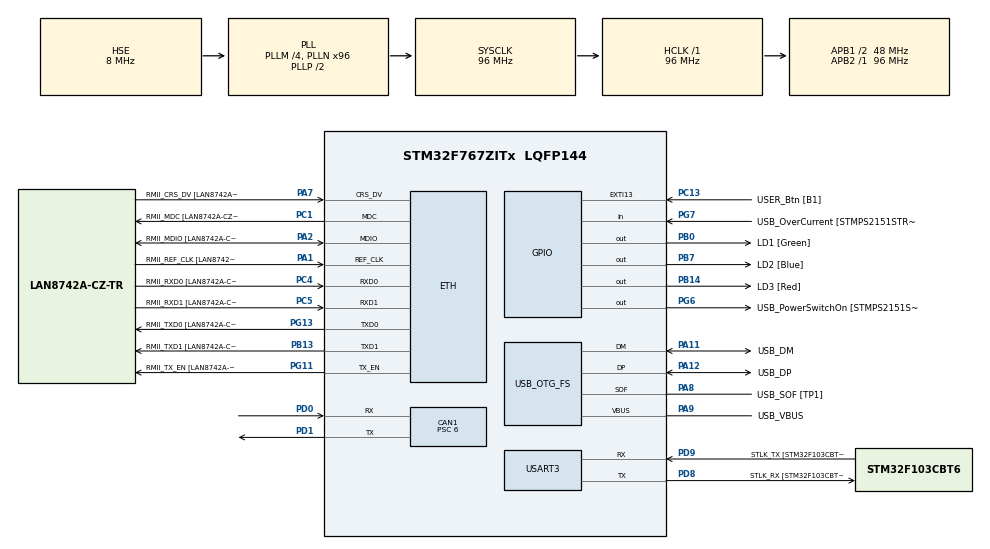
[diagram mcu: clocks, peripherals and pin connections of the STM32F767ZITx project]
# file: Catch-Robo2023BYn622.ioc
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CAN1.BS1=CAN_BS1_6TQ
CAN1.CalculateBaudRate=1000000
CAN1.CalculateTimeBit=1000
CAN1.CalculateTimeQuantum=125.0
CAN1.Prescaler=6
CAN1.TXFP=ENABLE
Dma.Request0=USART3_TX
Dma.USART3_TX.0.Direction=DMA_MEMORY_TO_PERIPH
Dma.USART3_TX.0.FIFOMode=DMA_FIFOMODE_DISABLE
Dma.USART3_TX.0.Instance=DMA1_Stream3
Dma.USART3_TX.0.MemDataAlignment=DMA_MDATAALIGN_BYTE
Dma.USART3_TX.0.MemInc=DMA_MINC_ENABLE
Dma.USART3_TX.0.Mode=DMA_NORMAL
Dma.USART3_TX.0.PeriphDataAlignment=DMA_PDATAALIGN_BYTE
Dma.USART3_TX.0.PeriphInc=DMA_PINC_DISABLE
Dma.USART3_TX.0.Priority=DMA_PRIORITY_LOW
ETH.MediaInterface=HAL_ETH_RMII_MODE
ETH.PHY_Name=LAN8742A_PHY_ADDRESS
ETH.PHY_Value=0
ETH.PhyAddress=0
ETH.RxMode=ETH_RXINTERRUPT_MODE
FREERTOS.Tasks01=defaultTask,24,512,StartDefaultTask,Default,NULL,Static,defaultTaskBuffer,defaultTaskControlBlock;systemCheckTask,32,512,StartSystemCheckTask,Default,NULL,Static,systemCheckTaskBuffer,systemCheckTaskControlBlock;ControllerTask,24,512,StartControllerTask,Default,NULL,Static,ControllerTaskBuffer,ControllerTaskControlBlock
FREERTOS.configENABLE_FPU=1
FREERTOS.configUSE_TIMERS=1
LWIP.BSP.number=1
LWIP.GATEWAY_ADDRESS=192.168.000.001
LWIP.IP_ADDRESS=192.168.000.020
LWIP.LWIP_DHCP=0
LWIP.NETMASK_ADDRESS=255.255.255.000
LWIP.Version=v2.1.2_Cube
LWIP0.BSP.STBoard=false
LWIP0.BSP.api=BSP_COMPONENT_DRIVER
LWIP0.BSP.component=LAN8742
LWIP0.BSP.instance=LAN8742
LWIP0.BSP.name=Driver_PHY
LWIP0.BSP.semaphore=S_LAN8742
LWIP0.BSP.solution=LAN8742
Mcu.Family=STM32F7
Mcu.Name=STM32F767ZITx
Mcu.Package=LQFP144
NVIC.CAN1_RX0_IRQn=true\:5\:0\:false\:false\:true\:true\:true\:true\:true
NVIC.CAN1_RX1_IRQn=true\:5\:0\:false\:false\:true\:true\:true\:true\:true
NVIC.CAN1_TX_IRQn=true\:5\:0\:false\:false\:true\:true\:true\:true\:true
NVIC.DMA1_Stream3_IRQn=true\:5\:0\:false\:false\:true\:true\:false\:true\:true
NVIC.ETH_IRQn=true\:5\:0\:false\:false\:true\:true\:false\:true\:true
NVIC.PriorityGroup=NVIC_PRIORITYGROUP_4
NVIC.TIM8_TRG_COM_TIM14_IRQn=true\:15\:0\:false\:false\:true\:false\:false\:true\:true
NVIC.TimeBase=TIM8_TRG_COM_TIM14_IRQn
NVIC.TimeBaseIP=TIM14
NVIC.USART3_IRQn=true\:5\:0\:false\:false\:true\:true\:true\:true\:true
PA1.GPIO_Label=RMII_REF_CLK [LAN8742A-CZ-TR_REFCLK0]
PA1.Mode=RMII
PA1.Signal=ETH_REF_CLK
PA10.GPIO_Label=USB_ID
PA10.Signal=USB_OTG_FS_ID
PA11.GPIO_Label=USB_DM
PA11.Mode=Device_Only
PA11.Signal=USB_OTG_FS_DM
PA12.GPIO_Label=USB_DP
PA12.Mode=Device_Only
PA12.Signal=USB_OTG_FS_DP
PA13.GPIO_Label=TMS
PA13.Mode=Serial_Wire
PA13.Signal=SYS_JTMS-SWDIO
PA14.GPIO_Label=TCK
PA14.Mode=Serial_Wire
PA14.Signal=SYS_JTCK-SWCLK
PA2.GPIO_Label=RMII_MDIO [LAN8742A-CZ-TR_MDIO]
PA2.Mode=RMII
PA2.Signal=ETH_MDIO
PA7.GPIO_Label=RMII_CRS_DV [LAN8742A-CZ-TR_CRS_DV]
PA7.Mode=RMII
PA7.Signal=ETH_CRS_DV
PA8.GPIO_Label=USB_SOF [TP1]
PA8.Mode=Activate_SOF_FS
PA8.Signal=USB_OTG_FS_SOF
PA9.GPIO_Label=USB_VBUS
PA9.Mode=Activate_VBUS
PA9.Signal=USB_OTG_FS_VBUS
PB0.GPIO_Label=LD1 [Green]
PB0.Signal=GPIO_Output
PB13.GPIO_Label=RMII_TXD1 [LAN8742A-CZ-TR_TXD1]
PB13.Mode=RMII
PB13.Signal=ETH_TXD1
PB14.GPIO_Label=LD3 [Red]
PB14.Signal=GPIO_Output
PB3.GPIO_Label=SWO
PB3.Signal=SYS_JTDO-SWO
PB7.GPIO_Label=LD2 [Blue]
PB7.Signal=GPIO_Output
PC1.GPIO_Label=RMII_MDC [LAN8742A-CZ-TR_MDC]
PC1.Mode=RMII
PC1.Signal=ETH_MDC
PC13.GPIO_Label=USER_Btn [B1]
PC13.Signal=GPXTI13
PC14/OSC32_IN.Mode=LSE-External-Oscillator
PC14/OSC32_IN.Signal=RCC_OSC32_IN
PC15/OSC32_OUT.Mode=LSE-External-Oscillator
PC15/OSC32_OUT.Signal=RCC_OSC32_OUT
PC4.GPIO_Label=RMII_RXD0 [LAN8742A-CZ-TR_RXD0]
PC4.Mode=RMII
PC4.Signal=ETH_RXD0
PC5.GPIO_Label=RMII_RXD1 [LAN8742A-CZ-TR_RXD1]
PC5.Mode=RMII
PC5.Signal=ETH_RXD1
PD0.Mode=CAN_Activate
PD0.Signal=CAN1_RX
PD1.Mode=CAN_Activate
PD1.Signal=CAN1_TX
PD8.GPIO_Label=STLK_RX [STM32F103CBT6_PA3]
PD8.Mode=Asynchronous
PD8.Signal=USART3_TX
PD9.GPIO_Label=STLK_TX [STM32F103CBT6_PA2]
PD9.Mode=Asynchronous
PD9.Signal=USART3_RX
PG11.GPIO_Label=RMII_TX_EN [LAN8742A-CZ-TR_TXEN]
PG11.Mode=RMII
PG11.Signal=ETH_TX_EN
PG13.GPIO_Label=RMII_TXD0 [LAN8742A-CZ-TR_TXD0]
PG13.Mode=RMII
PG13.Signal=ETH_TXD0
PG6.GPIO_Label=USB_PowerSwitchOn [STMPS2151STR_EN]
PG6.Signal=GPIO_Output
PG7.GPIO_Label=USB_OverCurrent [STMPS2151STR_FAULT]
PG7.Signal=GPIO_Input
PH0/OSC_IN.GPIO_Label=MCO [STM32F103CBT6_PA8]
PH0/OSC_IN.Mode=HSE-External-Clock-Source
PH0/OSC_IN.Signal=RCC_OSC_IN
PH1/OSC_OUT.Mode=HSE-External-Clock-Source
PH1/OSC_OUT.Signal=RCC_OSC_OUT
ProjectManager.HeapSize=0x200
ProjectManager.StackSize=0x400
ProjectManager.TargetToolchain=STM32CubeIDE
RCC.48MHZClocksFreq_Value=24000000
RCC.AHBFreq_Value=96000000
RCC.APB1CLKDivider=RCC_HCLK_DIV2
RCC.APB1Freq_Value=48000000
RCC.APB1TimFreq_Value=96000000
RCC.APB2Freq_Value=96000000
RCC.APB2TimFreq_Value=96000000
RCC.CortexFreq_Value=96000000
RCC.HCLKFreq_Value=96000000
RCC.HSE_VALUE=8000000
RCC.HSI_VALUE=16000000
RCC.PLLM=4
RCC.PLLMUL=RCC_PLL_MUL9
RCC.PLLN=96
RCC.PLLQ=4
RCC.PRESCALERUSB=RCC_USBCLKSOURCE_PLL_DIV1_5
RCC.SYSCLKFreq_VALUE=96000000
RCC.SYSCLKSource=RCC_SYSCLKSOURCE_PLLCLK
RCC.SYSCLKSourceVirtual=RCC_SYSCLKSOURCE_PLLCLK
RCC.USBFreq_Value=48000000
RCC.VCOOutputFreq_Value=192000000
USART3.VirtualMode-Asynchronous=VM_ASYNC
USB_OTG_FS.VirtualMode=Device_Only
VP_FREERTOS_VS_CMSIS_V2.Mode=CMSIS_V2
VP_LWIP_VS_Enabled.Mode=Enabled
VP_SYS_VS_tim14.Mode=TIM14
board=NUCLEO-F767ZI

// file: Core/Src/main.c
/* USER CODE BEGIN Header */
/**
  ******************************************************************************
  * @file           : main.c
  * @brief          : Main program body
  ******************************************************************************
  * @attention
  *
  * Copyright (c) 2023 STMicroelectronics.
  * All rights reserved.
  *
  * This software is licensed under terms that can be found in the LICENSE file
  * in the root directory of this software component.
  * If no LICENSE file comes with this software, it is provided AS-IS.
  *
  ******************************************************************************
  */
/* USER CODE END Header */
#include "main.h"
#include "cmsis_os.h"
#include "lwip.h"

/* USER CODE BEGIN Includes */
#include <stdio.h>
#include <CAN_Main.h>
#include <UDPController.h>
/* USER CODE END Includes */

typedef StaticTask_t osStaticThreadDef_t;

CAN_HandleTypeDef hcan1;

UART_HandleTypeDef huart3;
DMA_HandleTypeDef hdma_usart3_tx;

PCD_HandleTypeDef hpcd_USB_OTG_FS;

/* Definitions for defaultTask */
osThreadId_t defaultTaskHandle;
uint32_t defaultTaskBuffer[ 512 ];
osStaticThreadDef_t defaultTaskControlBlock;
const osThreadAttr_t defaultTask_attributes = {
  .name = "defaultTask",
  .cb_mem = &defaultTaskControlBlock,
  .cb_size = sizeof(defaultTaskControlBlock),
  .stack_mem = &defaultTaskBuffer[0],
  .stack_size = sizeof(defaultTaskBuffer),
  .priority = (osPriority_t) osPriorityNormal,
};
/* Definitions for systemCheckTask */
osThreadId_t systemCheckTaskHandle;
uint32_t systemCheckTaskBuffer[ 512 ];
osStaticThreadDef_t systemCheckTaskControlBlock;
const osThreadAttr_t systemCheckTask_attributes = {
  .name = "systemCheckTask",
  .cb_mem = &systemCheckTaskControlBlock,
  .cb_size = sizeof(systemCheckTaskControlBlock),
  .stack_mem = &systemCheckTaskBuffer[0],
  .stack_size = sizeof(systemCheckTaskBuffer),
  .priority = (osPriority_t) osPriorityAboveNormal,
};
/* Definitions for ControllerTask */
osThreadId_t ControllerTaskHandle;
uint32_t ControllerTaskBuffer[ 512 ];
osStaticThreadDef_t ControllerTaskControlBlock;
const osThreadAttr_t ControllerTask_attributes = {
  .name = "ControllerTask",
  .cb_mem = &ControllerTaskControlBlock,
  .cb_size = sizeof(ControllerTaskControlBlock),
  .stack_mem = &ControllerTaskBuffer[0],
  .stack_size = sizeof(ControllerTaskBuffer),
  .priority = (osPriority_t) osPriorityNormal,
};
/* USER CODE BEGIN PV */
NUM_OF_DEVICES num_of_devices;
MCMD_HandleTypedef mcmd4_struct;
MCMD_Feedback_Typedef mcmd_fb;//MCMDからのフィードバックを受け取る構造体を定義

// CANモジュール基板の設定
  CANServo_Param_Typedef servo_param;
  CAN_Device servo_device;
  CAN_Device air_device;
/* USER CODE END PV */

void SystemClock_Config(void);
static void MX_GPIO_Init(void);
static void MX_DMA_Init(void);
static void MX_USART3_UART_Init(void);
static void MX_USB_OTG_FS_PCD_Init(void);
static void MX_CAN1_Init(void);
void StartDefaultTask(void *argument);
void StartSystemCheckTask(void *argument);
void StartControllerTask(void *argument);

/* USER CODE BEGIN 0 */
#ifdef __GNUC__
#define PUTCHAR_PROTOTYPE int __io_putchar(uint8_t ch)
#else
#define PUTCHAR_PROTYPE int fputc(int ch,FILE *f)
#endif

PUTCHAR_PROTOTYPE {
    HAL_UART_Transmit(&huart3, &ch, 1, 500);
    return ch;
}

void HAL_CAN_TxMailbox0CompleteCallback(CAN_HandleTypeDef *hcan){
    WhenTxMailbox0_1_2CompleteCallbackCalled();
}

void HAL_CAN_TxMailbox0AbortCallback(CAN_HandleTypeDef *hcan){
    WhenTxMailbox0_1_2AbortCallbackCalled();
}

void HAL_CAN_TxMailbox1CompleteCallback(CAN_HandleTypeDef *hcan){
    WhenTxMailbox0_1_2CompleteCallbackCalled();
}

void HAL_CAN_TxMailbox1AbortCallback(CAN_HandleTypeDef *hcan){
    WhenTxMailbox0_1_2AbortCallbackCalled();
}

void HAL_CAN_TxMailbox2CompleteCallback(CAN_HandleTypeDef *hcan){
    WhenTxMailbox0_1_2CompleteCallbackCalled();
}

void HAL_CAN_TxMailbox2AbortCallback(CAN_HandleTypeDef *hcan){
    WhenTxMailbox0_1_2AbortCallbackCalled();
}

void HAL_CAN_RxFifo0MsgPendingCallback(CAN_HandleTypeDef *hcan){
    WhenCANRxFifo0MsgPending(hcan, &num_of_devices);
}

void canSetting(){
	printf("Start Initializing CAN System:Begin\n\r");
	HAL_Delay(100);

	CAN_SystemInit(&hcan1); // F7のCAN通信のinit

	// デバイス数の設定 (今回はmcmd4が1枚)
	num_of_devices.mcmd3 = 0;
	num_of_devices.mcmd4 = 0;
	num_of_devices.air = 1;
	num_of_devices.servo = 0;

	printf("Start Initializing CAN System:End\n\r");
	HAL_Delay(100);
	CAN_WaitConnect(&num_of_devices);  // 設定された全てのCANモジュール基板との接続が確認できるまで待機
}

void mcmdSetting(){
	   // ここからはCANモジュール基板の設定
	    // 接続先のMCMDの設定
	    mcmd4_struct.device.node_type = NODE_MCMD3;  // nodeのタイプ (NODE_MCMD3など)
	    mcmd4_struct.device.node_id = 1;  // 基板の番号 (基板上の半固定抵抗を回す事で設定できる)
	    mcmd4_struct.device.device_num = 0;  // モーターの番号(MCMDなら0と1の2つが選べる)

	    // 制御パラメータの設定
	    mcmd4_struct.ctrl_param.ctrl_type = MCMD_CTRL_POS;  //制御タイプを設定
	    mcmd4_struct.ctrl_param.PID_param.kp = 0.3f;  // Pゲイン 1.0
	    mcmd4_struct.ctrl_param.PID_param.ki = 0.0f;  // Iゲイン 0.0
	    mcmd4_struct.ctrl_param.PID_param.kd = 0.0f;  // Dゲイン 0.0 (Dゲインは使いにくい)
	    mcmd4_struct.ctrl_param.accel_limit = ACCEL_LIMIT_ENABLE;  // PIDの偏差をclipするか
	    mcmd4_struct.ctrl_param.accel_limit_size = 2.0f;  // PIDの偏差をclipする場合の絶対値のmax値
	    mcmd4_struct.ctrl_param.feedback = MCMD_FB_ENABLE;  // MCMDからF7にフィードバックを送信するか否か
	    mcmd4_struct.ctrl_param.timup_monitor = TIMUP_MONITOR_DISABLE;  // timeupは未実装なのでDISABLE。
	    mcmd4_struct.enc_dir = MCMD_DIR_FW;  // Encoderの回転方向設定
	    mcmd4_struct.rot_dir = MCMD_DIR_BC;  // モーターの回転方向設定
	    mcmd4_struct.quant_per_unit = 59.0/6400.0f;  // エンコーダーの分解能に対する制御値の変化量の割合

	    // 原点サーチの設定
	    mcmd4_struct.limit_sw_type = LIMIT_SW_NC;  // 原点サーチにNomaly Closedのスイッチを用いる
	    mcmd4_struct.calib = CALIBRATION_DISABLE;  // 原点サーチを行う。
	    mcmd4_struct.calib_duty = 0.1f;  // 原点サーチ時のduty
	    mcmd4_struct.offset = 0.0f;  // 原点のオフセット
	    mcmd4_struct.fb_type = MCMD_FB_POS;  // 読み取った位置情報をF7にフィードバックする。
}

void activateMcmdControll(){
	// パラメータなどの設定と動作命令をMCMDに送信する
	 MCMD_init(&mcmd4_struct);
	 HAL_Delay(10);
	 MCMD_Calib(&mcmd4_struct);  // キャリブレーションを行う
	 HAL_Delay(2000);  // キャリブレーションが終わるまで待つ
	 MCMD_SetTarget(&mcmd4_struct, 30.0f);  // 目標値(0.0)を設定
	 HAL_Delay(10);
	 MCMD_Control_Enable(&mcmd4_struct);  // 制御開始
	 printf("start");
	 HAL_Delay(10);
}

void servoSetting(){
	// Servo基板のdevice設定
	servo_device.node_type = NODE_SERVO;
	servo_device.node_id = 2;
	servo_device.device_num = 0;//0~3を指定する

	// Servo基板のパラメータ (offset以外はあまり変更しない)
	servo_param.angle_range=270.0f;//サーボの動作範囲
	servo_param.angle_offset=0.0f;//原点の位置
	servo_param.pulse_width_max=2.4f;//サーボの制御のPWM信号のパルス幅の最大値
	servo_param.pulse_width_min=0.5f;//サーボの制御のPWM信号のパルス幅の最小値
	servo_param.pwm_frequency=50;//PWM周波数（この変更は未実装
}

void airSetting(){
	air_device.node_type = NODE_AIR; //エアシリンダ基盤であることを示す
	air_device.node_id = 0; //基板の番号
}
/* USER CODE END 0 */

int main(void)
{

  /* MCU Configuration--------------------------------------------------------*/

  /* Reset of all peripherals, Initializes the Flash interface and the Systick. */
  HAL_Init();

  /* Configure the system clock */
  SystemClock_Config();

  /* Initialize all configured peripherals */
  MX_GPIO_Init();
  MX_DMA_Init();
  MX_USART3_UART_Init();
  MX_USB_OTG_FS_PCD_Init();
  MX_CAN1_Init();
  /* USER CODE BEGIN 2 */

  //記事ではmcmdなどの初期化コードを描くことになっている場所
  //canSetting();
  //mcmdSetting();
  //activateMcmdControll();
  //servoSetting();
  //airSetting();

  /* USER CODE END 2 */

  /* Init scheduler */
  osKernelInitialize();

  /* Create the thread(s) */
  /* creation of defaultTask */
  defaultTaskHandle = osThreadNew(StartDefaultTask, NULL, &defaultTask_attributes);

  /* creation of systemCheckTask */
  systemCheckTaskHandle = osThreadNew(StartSystemCheckTask, NULL, &systemCheckTask_attributes);

  /* creation of ControllerTask */
  ControllerTaskHandle = osThreadNew(StartControllerTask, NULL, &ControllerTask_attributes);

  /* Start scheduler */
  osKernelStart();
  /* We should never get here as control is now taken by the scheduler */
  /* Infinite loop */
  while (1)
  {

  }
}

void SystemClock_Config(void)
{
  RCC_OscInitTypeDef RCC_OscInitStruct = {0};
  RCC_ClkInitTypeDef RCC_ClkInitStruct = {0};

  /** Configure LSE Drive Capability
  */
  HAL_PWR_EnableBkUpAccess();

  /** Configure the main internal regulator output voltage
  */
  __HAL_RCC_PWR_CLK_ENABLE();
  __HAL_PWR_VOLTAGESCALING_CONFIG(PWR_REGULATOR_VOLTAGE_SCALE3);

  /** Initializes the RCC Oscillators according to the specified parameters
  * in the RCC_OscInitTypeDef structure.
  */
  RCC_OscInitStruct.OscillatorType = RCC_OSCILLATORTYPE_HSE;
  RCC_OscInitStruct.HSEState = RCC_HSE_BYPASS;
  RCC_OscInitStruct.PLL.PLLState = RCC_PLL_ON;
  RCC_OscInitStruct.PLL.PLLSource = RCC_PLLSOURCE_HSE;
  RCC_OscInitStruct.PLL.PLLM = 4;
  RCC_OscInitStruct.PLL.PLLN = 96;
  RCC_OscInitStruct.PLL.PLLP = RCC_PLLP_DIV2;
  RCC_OscInitStruct.PLL.PLLQ = 4;
  RCC_OscInitStruct.PLL.PLLR = 2;
  if (HAL_RCC_OscConfig(&RCC_OscInitStruct) != HAL_OK)
  {
    Error_Handler();
  }

  /** Activate the Over-Drive mode
  */
  if (HAL_PWREx_EnableOverDrive() != HAL_OK)
  {
    Error_Handler();
  }

  /** Initializes the CPU, AHB and APB buses clocks
  */
  RCC_ClkInitStruct.ClockType = RCC_CLOCKTYPE_HCLK|RCC_CLOCKTYPE_SYSCLK
                              |RCC_CLOCKTYPE_PCLK1|RCC_CLOCKTYPE_PCLK2;
  RCC_ClkInitStruct.SYSCLKSource = RCC_SYSCLKSOURCE_PLLCLK;
  RCC_ClkInitStruct.AHBCLKDivider = RCC_SYSCLK_DIV1;
  RCC_ClkInitStruct.APB1CLKDivider = RCC_HCLK_DIV2;
  RCC_ClkInitStruct.APB2CLKDivider = RCC_HCLK_DIV1;

  if (HAL_RCC_ClockConfig(&RCC_ClkInitStruct, FLASH_LATENCY_3) != HAL_OK)
  {
    Error_Handler();
  }
}

static void MX_CAN1_Init(void)
{

  hcan1.Instance = CAN1;
  hcan1.Init.Prescaler = 6;
  hcan1.Init.Mode = CAN_MODE_NORMAL;
  hcan1.Init.SyncJumpWidth = CAN_SJW_1TQ;
  hcan1.Init.TimeSeg1 = CAN_BS1_6TQ;
  hcan1.Init.TimeSeg2 = CAN_BS2_1TQ;
  hcan1.Init.TimeTriggeredMode = DISABLE;
  hcan1.Init.AutoBusOff = DISABLE;
  hcan1.Init.AutoWakeUp = DISABLE;
  hcan1.Init.AutoRetransmission = DISABLE;
  hcan1.Init.ReceiveFifoLocked = DISABLE;
  hcan1.Init.TransmitFifoPriority = ENABLE;
  if (HAL_CAN_Init(&hcan1) != HAL_OK)
  {
    Error_Handler();
  }

}

static void MX_USART3_UART_Init(void)
{

  huart3.Instance = USART3;
  huart3.Init.BaudRate = 115200;
  huart3.Init.WordLength = UART_WORDLENGTH_8B;
  huart3.Init.StopBits = UART_STOPBITS_1;
  huart3.Init.Parity = UART_PARITY_NONE;
  huart3.Init.Mode = UART_MODE_TX_RX;
  huart3.Init.HwFlowCtl = UART_HWCONTROL_NONE;
  huart3.Init.OverSampling = UART_OVERSAMPLING_16;
  huart3.Init.OneBitSampling = UART_ONE_BIT_SAMPLE_DISABLE;
  huart3.AdvancedInit.AdvFeatureInit = UART_ADVFEATURE_NO_INIT;
  if (HAL_UART_Init(&huart3) != HAL_OK)
  {
    Error_Handler();
  }

}

static void MX_USB_OTG_FS_PCD_Init(void)
{

  hpcd_USB_OTG_FS.Instance = USB_OTG_FS;
  hpcd_USB_OTG_FS.Init.dev_endpoints = 6;
  hpcd_USB_OTG_FS.Init.speed = PCD_SPEED_FULL;
  hpcd_USB_OTG_FS.Init.dma_enable = DISABLE;
  hpcd_USB_OTG_FS.Init.phy_itface = PCD_PHY_EMBEDDED;
  hpcd_USB_OTG_FS.Init.Sof_enable = ENABLE;
  hpcd_USB_OTG_FS.Init.low_power_enable = DISABLE;
  hpcd_USB_OTG_FS.Init.lpm_enable = DISABLE;
  hpcd_USB_OTG_FS.Init.vbus_sensing_enable = ENABLE;
  hpcd_USB_OTG_FS.Init.use_dedicated_ep1 = DISABLE;
  if (HAL_PCD_Init(&hpcd_USB_OTG_FS) != HAL_OK)
  {
    Error_Handler();
  }

}

static void MX_DMA_Init(void)
{

  /* DMA controller clock enable */
  __HAL_RCC_DMA1_CLK_ENABLE();

  /* DMA interrupt init */
  /* DMA1_Stream3_IRQn interrupt configuration */
  HAL_NVIC_SetPriority(DMA1_Stream3_IRQn, 5, 0);
  HAL_NVIC_EnableIRQ(DMA1_Stream3_IRQn);

}

static void MX_GPIO_Init(void)
{
  GPIO_InitTypeDef GPIO_InitStruct = {0};

  /* GPIO Ports Clock Enable */
  __HAL_RCC_GPIOC_CLK_ENABLE();
  __HAL_RCC_GPIOH_CLK_ENABLE();
  __HAL_RCC_GPIOA_CLK_ENABLE();
  __HAL_RCC_GPIOB_CLK_ENABLE();
  __HAL_RCC_GPIOD_CLK_ENABLE();
  __HAL_RCC_GPIOG_CLK_ENABLE();

  /*Configure GPIO pin Output Level */
  HAL_GPIO_WritePin(GPIOB, LD1_Pin|LD3_Pin|LD2_Pin, GPIO_PIN_RESET);

  /*Configure GPIO pin Output Level */
  HAL_GPIO_WritePin(USB_PowerSwitchOn_GPIO_Port, USB_PowerSwitchOn_Pin, GPIO_PIN_RESET);

  /*Configure GPIO pin : USER_Btn_Pin */
  GPIO_InitStruct.Pin = USER_Btn_Pin;
  GPIO_InitStruct.Mode = GPIO_MODE_IT_RISING;
  GPIO_InitStruct.Pull = GPIO_NOPULL;
  HAL_GPIO_Init(USER_Btn_GPIO_Port, &GPIO_InitStruct);

  /*Configure GPIO pins : LD1_Pin LD3_Pin LD2_Pin */
  GPIO_InitStruct.Pin = LD1_Pin|LD3_Pin|LD2_Pin;
  GPIO_InitStruct.Mode = GPIO_MODE_OUTPUT_PP;
  GPIO_InitStruct.Pull = GPIO_NOPULL;
  GPIO_InitStruct.Speed = GPIO_SPEED_FREQ_LOW;
  HAL_GPIO_Init(GPIOB, &GPIO_InitStruct);

  /*Configure GPIO pin : USB_PowerSwitchOn_Pin */
  GPIO_InitStruct.Pin = USB_PowerSwitchOn_Pin;
  GPIO_InitStruct.Mode = GPIO_MODE_OUTPUT_PP;
  GPIO_InitStruct.Pull = GPIO_NOPULL;
  GPIO_InitStruct.Speed = GPIO_SPEED_FREQ_LOW;
  HAL_GPIO_Init(USB_PowerSwitchOn_GPIO_Port, &GPIO_InitStruct);

  /*Configure GPIO pin : USB_OverCurrent_Pin */
  GPIO_InitStruct.Pin = USB_OverCurrent_Pin;
  GPIO_InitStruct.Mode = GPIO_MODE_INPUT;
  GPIO_InitStruct.Pull = GPIO_NOPULL;
  HAL_GPIO_Init(USB_OverCurrent_GPIO_Port, &GPIO_InitStruct);

}

void StartDefaultTask(void *argument)
{
  /* init code for LWIP */
  MX_LWIP_Init();
  /* USER CODE BEGIN 5 */
  HAL_GPIO_WritePin(GPIOB, LD1_Pin, GPIO_PIN_RESET);  // LED1 消灯
  /* Infinite loop */
  for(;;)
  {
	uint16_t button_data = UDPController_GetControllerButtons();  // buttonの入力を取得
	if((button_data & CONTROLLER_CIRCLE) != 0){  // oボタンが押されている場合
	   HAL_GPIO_WritePin(GPIOB, LD1_Pin, GPIO_PIN_SET);  // LED1 点灯
	}else{
	   HAL_GPIO_WritePin(GPIOB, LD1_Pin, GPIO_PIN_RESET);  // LED1 消灯
	  osDelay(100);
	}

  }
  /* USER CODE END 5 */
}

/* USER CODE BEGIN Header_StartSystemCheckTask */
/**
* @brief Function implementing the systemCheckTask thread.
* @param argument: Not used
* @retval None
*/
void freeRTOSChecker(){//無限ループの中で実行
	HAL_GPIO_TogglePin(GPIOB, LD2_Pin);  // PINのPin stateを反転
	printf("RTOSchecking\r\n");

}

void mcmdChecker(){//無限ループの中で実行
	mcmd_fb = Get_MCMD_Feedback(&(mcmd4_struct.device));
	printf("value of tyokudou %d\r\n",(int)(mcmd_fb.value));
}

void servoChecker(){
	ServoDriver_Init(&servo_device, &servo_param);  // Servo基板にパラメータを送信
	HAL_Delay(100);  // 適切なdelayを入れる
	ServoDriver_SendValue(&servo_device, 20.0f);  // サーボが20.0度になるように回転させる
}

void airChecker(){
	for(uint8_t i=PORT_1; i<=PORT_8; i++){  //すべてのポートを初期化しないとAir基板は動かない
	    air_device.device_num = i; // (i番ポートを指定)
	    AirCylinder_Init(&air_device, AIR_OFF);
	    osDelay(10);  // このdelayは必要
	  }
	  air_device.device_num=0; // とりあえず0番ポートのエアシリンダを動かします。
	  AirCylinder_SendOutput(&air_device, AIR_ON);  // 0番ポートの電磁弁がonになる
	  osDelay(1000);
	  AirCylinder_SendOutput(&air_device, AIR_OFF); // 0番ポートの電磁弁がoffになる
	  osDelay(1000);
}
/* USER CODE END Header_StartSystemCheckTask */
void StartSystemCheckTask(void *argument)
{
  /* USER CODE BEGIN StartSystemCheckTask */
	//servoChecker();
	//airChecker();
  /* Infinite loop */
  for(;;)
  {
	  freeRTOSChecker();
	  //mcmdChecker();
	  osDelay(1000);
  }
  /* USER CODE END StartSystemCheckTask */
}

void StartControllerTask(void *argument)
{
  /* USER CODE BEGIN StartControllerTask */
  /* Infinite loop */
  UDPControllerReceive(argument);
  /* USER CODE END StartControllerTask */
}

void HAL_TIM_PeriodElapsedCallback(TIM_HandleTypeDef *htim)
{
  if (htim->Instance == TIM14) {
    HAL_IncTick();
  }
}

void Error_Handler(void)
{
  /* USER CODE BEGIN Error_Handler_Debug */
  /* User can add his own implementation to report the HAL error return state */
  __disable_irq();
  while (1)
  {
	  printf("error");
	  HAL_GPIO_WritePin(GPIOB, LD1_Pin, GPIO_PIN_SET);  // LED1点灯
	  osDelay(100);
  }
  /* USER CODE END Error_Handler_Debug */
}
